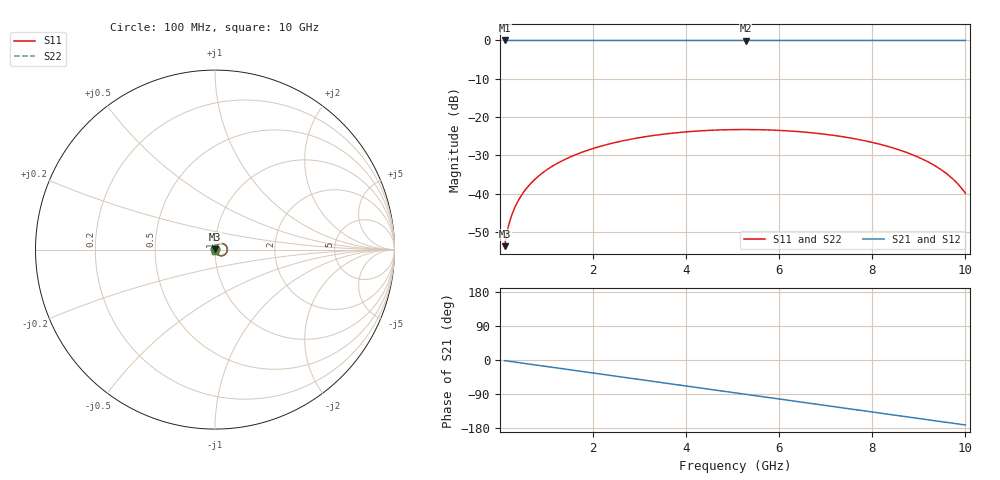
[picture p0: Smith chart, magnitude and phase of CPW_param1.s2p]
! Sonnet Data File
! From: em Version : 19.52.2025
! From Project: CPW
! Data is De-embedded
! Data File Written: 02/24/2026 12:47:38
!< HDATE 02/24/2026 12:38:38
!< MDATE 02/24/2026 12:38:38
!< PARAMS
!< Lk = 0
!< END PARAMS
# GHZ S MA R 50.00000
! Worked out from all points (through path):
!   4951 points, 100 MHz to 10 GHz, reference 50 ohm
!   highest |S21| = 0.00 dB at 100 MHz (marker M1); lowest = 0.0 dB at 5.276 GHz (marker M2)
!   group delay of S21, straight-line fit = 47.6 ps
!   lowest |S11| = -53.7 dB at 100 MHz (marker M3), VSWR 1.00, Z = 50 + j0.206 ohm
!   |S11| at or under -10 dB: start of sweep to end of sweep
!   |S22| runs from -53.7 to -23.3 dB; largest |S21 - S12| = 1.7e-12
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0.1  0.002064 88.3  1 -1.7  1 -1.7  0.002064 88.3
0.206  0.004253 86.5  1 -3.5  1 -3.5  0.004253 86.5
0.3  0.00619 84.9  1 -5.2  1 -5.2  0.00619 84.9
0.434  0.008942 82.6  1 -7.5  1 -7.5  0.008942 82.6
0.604  0.01241 79.6  0.9999 -10.4  0.9999 -10.4  0.01241 79.6
0.82  0.01677 75.9  0.9998 -14.1  0.9998 -14.1  0.01677 75.9
1.08  0.02192 71.5  0.9997 -18.6  0.9997 -18.6  0.02192 71.5
1.39  0.02789 66.1  0.9996 -23.9  0.9996 -23.9  0.02789 66.1
1.75  0.03451 59.9  0.9994 -30.1  0.9994 -30.1  0.03451 59.9
2.502  0.04694 47.0  0.9989 -43.0  0.9989 -43.0  0.04694 47.0
3.4  0.05861 31.6  0.9982 -58.4  0.9982 -58.4  0.05861 31.6
4.234  0.06568 17.4  0.9978 -72.7  0.9978 -72.7  0.06568 17.4
5.05  0.06866 3.4  0.9976 -86.7  0.9976 -86.7  0.06866 3.4
5.276  0.06877 -0.5  0.9976 -90.5  0.9976 -90.5  0.06877 -0.5
5.982  0.06709 -12.6  0.9977 -102.6  0.9977 -102.6  0.06709 -12.6
6.7  0.06234 -24.9  0.998 -114.9  0.998 -114.9  0.06234 -24.9
7.498  0.05371 -38.5  0.9985 -128.6  0.9985 -128.6  0.05371 -38.5
8.35  0.04115 -53.1  0.999 -143.2  0.999 -143.2  0.04115 -53.1
8.894  0.03167 -62.5  0.9994 -152.5  0.9994 -152.5  0.03167 -62.5
9.344  0.02319 -70.2  0.9996 -160.3  0.9996 -160.3  0.02319 -70.2
9.694  0.01629 -76.2  0.9997 -166.3  0.9997 -166.3  0.01629 -76.2
10  0.01011 -81.4  0.9998 -171.5  0.9998 -171.5  0.01011 -81.4
